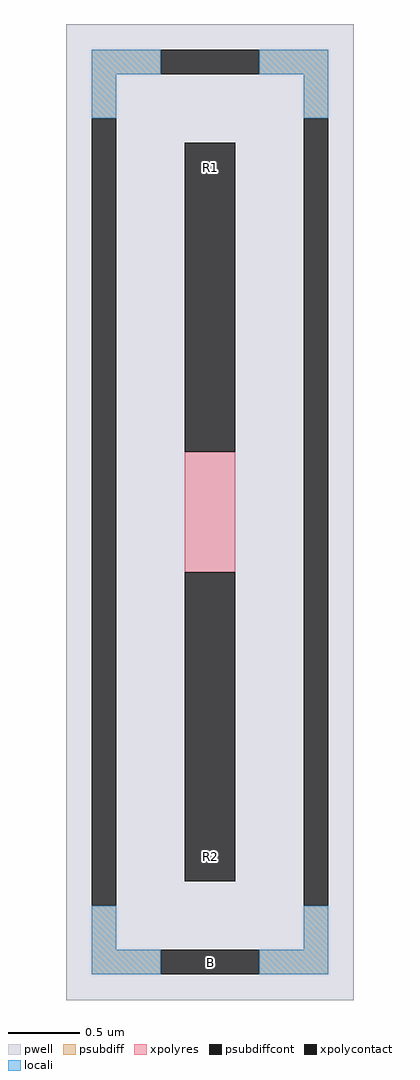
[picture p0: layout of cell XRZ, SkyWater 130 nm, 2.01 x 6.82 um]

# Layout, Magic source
magic
tech sky130A
magscale 1 2
<< pwell >>
rect -201 -682 201 682
<< psubdiff >>
rect -165 612 -69 646
rect 69 612 165 646
rect -165 550 -131 612
rect 131 550 165 612
rect -165 -612 -131 -550
rect 131 -612 165 -550
rect -165 -646 -69 -612
rect 69 -646 165 -612
<< psubdiffcont >>
rect -69 612 69 646
rect -165 -550 -131 550
rect 131 -550 165 550
rect -69 -646 69 -612
<< xpolycontact >>
rect -35 84 35 516
rect -35 -516 35 -84
<< xpolyres >>
rect -35 -84 35 84
<< locali >>
rect -165 612 -69 646
rect 69 612 165 646
rect -165 550 -131 612
rect 131 550 165 612
rect -165 -612 -131 -550
rect 131 -612 165 -550
rect -165 -646 -69 -612
rect 69 -646 165 -612
<< labels >>
rlabel psubdiffcont 0 -629 0 -629 0 B
port 3 nsew
rlabel xpolycontact 0 481 0 481 0 R1
port 4 nsew
rlabel xpolycontact 0 -481 0 -481 0 R2
port 5 nsew
<< properties >>
string FIXED_BBOX -148 -629 148 629
<< end >>
